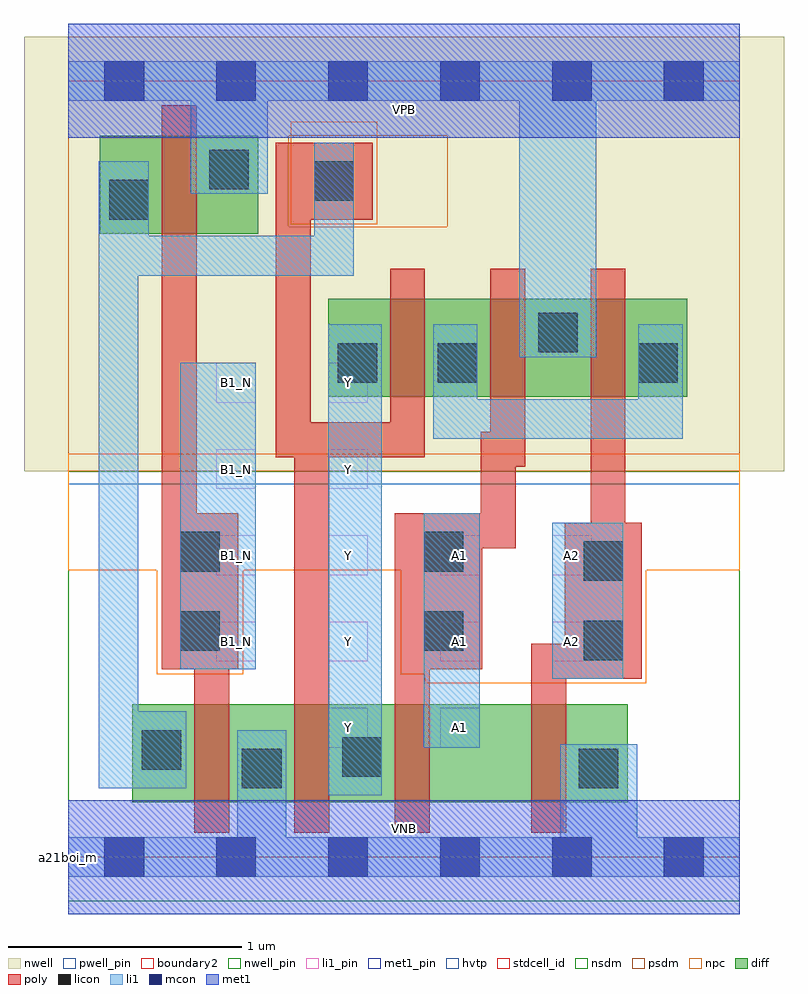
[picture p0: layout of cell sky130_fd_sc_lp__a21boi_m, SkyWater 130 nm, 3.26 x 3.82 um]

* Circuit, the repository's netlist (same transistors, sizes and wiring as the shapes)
* Copyright 2020 The SkyWater PDK Authors
*
* Licensed under the Apache License, Version 2.0 (the "License");
* you may not use this file except in compliance with the License.
* You may obtain a copy of the License at
*
*     https://www.apache.org/licenses/LICENSE-2.0
*
* Unless required by applicable law or agreed to in writing, software
* distributed under the License is distributed on an "AS IS" BASIS,
* WITHOUT WARRANTIES OR CONDITIONS OF ANY KIND, either express or implied.
* See the License for the specific language governing permissions and
* limitations under the License.
*
* SPDX-License-Identifier: Apache-2.0

.SUBCKT sky130_fd_sc_lp__a21boi_m A1 A2 B1_N VGND VNB VPB VPWR Y
*.PININFO A1:I A2:I B1_N:I VGND:I VNB:I VPB:I VPWR:I Y:O
MMPA0 net28 A1 VPWR VPB sky130_fd_pr__pfet_01v8_hvt m=1 w=0.42U l=0.15U mult=1
+ sa=0.265 sb=0.265 sd=0.28 area=0.063 perim=1.14
MMPA1 net28 A2 VPWR VPB sky130_fd_pr__pfet_01v8_hvt m=1 w=0.42U l=0.15U mult=1
+ sa=0.265 sb=0.265 sd=0.28 area=0.063 perim=1.14
MMPB0 Y B1 net28 VPB sky130_fd_pr__pfet_01v8_hvt m=1 w=0.42U l=0.15U mult=1 sa=0.265
+ sb=0.265 sd=0.28 area=0.063 perim=1.14
MMIPB1N B1 B1_N VPWR VPB sky130_fd_pr__pfet_01v8_hvt m=1 w=0.42U l=0.15U mult=1
+ sa=0.265 sb=0.265 sd=0.28 area=0.063 perim=1.14
MMNA0 Y A1 sndA1 VNB sky130_fd_pr__nfet_01v8 m=1 w=0.42U l=0.15U mult=1 sa=0.265
+ sb=0.265 sd=0.28 area=0.063 perim=1.14
MMNA1 sndA1 A2 VGND VNB sky130_fd_pr__nfet_01v8 m=1 w=0.42U l=0.15U mult=1 sa=0.265
+ sb=0.265 sd=0.28 area=0.063 perim=1.14
MMNB0 Y B1 VGND VNB sky130_fd_pr__nfet_01v8 m=1 w=0.42U l=0.15U mult=1 sa=0.265
+ sb=0.265 sd=0.28 area=0.063 perim=1.14
MMINB1N B1 B1_N VGND VNB sky130_fd_pr__nfet_01v8 m=1 w=0.42U l=0.15U mult=1 sa=0.265
+ sb=0.265 sd=0.28 area=0.063 perim=1.14
.ENDS sky130_fd_sc_lp__a21boi_m

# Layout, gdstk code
import gdstk
lib = gdstk.Library(unit=1e-6, precision=1e-09)
def R(c, l, rs):  # rectangles x0, y0, x1, y1
    for r in rs: c.add(gdstk.rectangle(r[:2], r[2:], *l))
def A(c, l, x, y, w, h, nx, ny, dx, dy):  # array of equal rectangles
    R(c, l, [(x+i*dx, y+j*dy, x+i*dx+w, y+j*dy+h) for i in range(nx) for j in range(ny)])
def P(c, l, *ps):  # polygons
    for p in ps: c.add(gdstk.Polygon(p, *l))
nwell_pin = (64, 16)
nwell = (64, 20)
diff = (65, 20)
poly = (66, 20)
licon = (66, 44)
li1_pin = (67, 16)
li1 = (67, 20)
mcon = (67, 44)
met1_pin = (68, 16)
met1 = (68, 20)
hvtp = (78, 44)
stdcell_id = (81, 4)
nsdm = (93, 44)
psdm = (94, 20)
npc = (95, 20)
pwell_pin = (122, 16)
boundary2 = (236, 0)

sky130_fd_sc_lp__a21boi_ = lib.new_cell('sky130_fd_sc_lp__a21boi_m')
R(sky130_fd_sc_lp__a21boi_, nwell_pin, [(0,3.085,2.88,3.33)])
R(sky130_fd_sc_lp__a21boi_, nwell, [(-0.19,1.655,3.07,3.52)])
R(sky130_fd_sc_lp__a21boi_, diff, [(0.275,0.235,2.4,0.655), (1.115,1.975,2.655,2.395), (0.135,2.675,0.815,3.095)])
P(sky130_fd_sc_lp__a21boi_, poly, [(0.73,1.475),(0.55,1.475),(0.55,3.225),(0.4,3.225),(0.4,0.805),(0.54,0.805),(0.54,0.105),(0.69,0.105),(0.69,0.805),(0.73,0.805)],
  [(1.53,2.525),(1.38,2.525),(1.38,1.865),(1.04,1.865),(1.04,2.735),(1.305,2.735),(1.305,3.065),(0.89,3.065),(0.89,1.715),(0.97,1.715),(0.97,0.105),(1.12,0.105),(1.12,1.715),(1.53,1.715)],
  [(1.96,2.525),(1.81,2.525),(1.81,1.825),(1.77,1.825),(1.77,1.475),(1.4,1.475),(1.4,0.105),(1.55,0.105),(1.55,0.805),(1.775,0.805),(1.775,1.325),(1.92,1.325),(1.92,1.675),(1.96,1.675)],
  [(2.46,1.435),(2.39,1.435),(2.39,2.525),(2.24,2.525),(2.24,1.435),(2.13,1.435),(2.13,0.915),(1.985,0.915),(1.985,0.105),(2.135,0.105),(2.135,0.765),(2.46,0.765)])
R(sky130_fd_sc_lp__a21boi_, licon, [(0.745,0.295,0.915,0.465), (2.19,0.295,2.36,0.465), (1.175,0.345,1.345,0.515), (0.315,0.375,0.485,0.545), (2.21,0.845,2.38,1.015), (0.48,0.885,0.65,1.055), (1.525,0.885,1.695,1.055), (2.21,1.185,2.38,1.355), (0.48,1.225,0.65,1.395), (1.525,1.225,1.695,1.395), (1.155,2.035,1.325,2.205), (1.585,2.035,1.755,2.205), (2.445,2.035,2.615,2.205), (2.015,2.165,2.185,2.335), (0.175,2.735,0.345,2.905), (1.055,2.815,1.225,2.985), (0.605,2.865,0.775,3.035)])
A(sky130_fd_sc_lp__a21boi_, li1_pin, 0.635, 0.84, 0.17, 0.17, 4, 2, 0.48, 0.37)
R(sky130_fd_sc_lp__a21boi_, li1_pin, [(1.115,0.47,1.285,0.64), (1.595,0.47,1.765,0.64), (0.635,1.58,0.805,1.75), (1.115,1.58,1.285,1.75), (0.635,1.95,0.805,2.12), (1.115,1.95,1.285,2.12)])
R(sky130_fd_sc_lp__a21boi_, li1, [(1.115,0.265,1.345,2.285), (1.525,0.47,1.765,1.475), (2.075,0.765,2.38,1.435), (0.48,0.805,0.805,2.12)])
P(sky130_fd_sc_lp__a21boi_, li1, [(1.935,2.145),(1.935,3.245),(0.855,3.245),(0.855,2.845),(0.525,2.845),(0.525,3.245),(0,3.245),(0,3.415),(2.88,3.415),(2.88,3.245),(2.265,3.245),(2.265,2.145)],
  [(2.11,0.085),(2.11,0.485),(2.44,0.485),(2.44,0.085),(2.88,0.085),(2.88,-0.085),(0,-0.085),(0,0.085),(0.725,0.085),(0.725,0.545),(0.935,0.545),(0.935,0.085)],
  [(0.345,2.665),(1.055,2.665),(1.055,3.065),(1.225,3.065),(1.225,2.495),(0.3,2.495),(0.3,0.625),(0.505,0.625),(0.505,0.295),(0.13,0.295),(0.13,2.985),(0.345,2.985)],
  [(2.445,1.965),(2.445,2.285),(2.635,2.285),(2.635,1.795),(1.565,1.795),(1.565,2.285),(1.755,2.285),(1.755,1.965)])
A(sky130_fd_sc_lp__a21boi_, mcon, 0.155, -0.085, 0.17, 0.17, 6, 2, 0.48, 3.33)
R(sky130_fd_sc_lp__a21boi_, met1_pin, [(0,0,2.88,0.245), (0,3.085,2.88,3.33)])
R(sky130_fd_sc_lp__a21boi_, met1, [(0,-0.245,2.88,0.245), (0,3.085,2.88,3.575)])
R(sky130_fd_sc_lp__a21boi_, hvtp, [(0,1.6,2.88,3.33)])
R(sky130_fd_sc_lp__a21boi_, stdcell_id, [(0,0,2.88,3.33)])
R(sky130_fd_sc_lp__a21boi_, nsdm, [(0,-0.19,2.88,1.655)])
P(sky130_fd_sc_lp__a21boi_, psdm, [(2.88,3.52),(1.625,3.52),(1.625,2.705),(0.945,2.705),(0.945,3.095),(1.625,3.095),(1.625,3.52),(0,3.52),(0,1.655),(2.88,1.655)])
R(sky130_fd_sc_lp__a21boi_, npc, [(0.955,2.715,1.325,3.155)])
P(sky130_fd_sc_lp__a21boi_, npc, [(2.88,1.73),(0,1.73),(0,1.23),(0.38,1.23),(0.38,0.785),(0.75,0.785),(0.75,1.23),(1.425,1.23),(1.425,0.785),(1.53,0.785),(1.53,0.745),(2.48,0.745),(2.48,1.23),(2.88,1.23)])
R(sky130_fd_sc_lp__a21boi_, pwell_pin, [(0,0,2.88,0.245)])
R(sky130_fd_sc_lp__a21boi_, boundary2, [(0,0,2.88,3.33)])
sky130_fd_sc_lp__a21boi_.add(gdstk.Label('VNB', (1.44,0.123), layer=64, texttype=59))
sky130_fd_sc_lp__a21boi_.add(gdstk.Label('VPB', (1.44,3.208), layer=64, texttype=5))
sky130_fd_sc_lp__a21boi_.add(gdstk.Label('a21boi_m', (0,0), layer=83, texttype=44))
sky130_fd_sc_lp__a21boi_.add(gdstk.Label('VPWR', (1.44,3.208), layer=68, texttype=5))
sky130_fd_sc_lp__a21boi_.add(gdstk.Label('VGND', (1.44,0.123), layer=68, texttype=5))
sky130_fd_sc_lp__a21boi_.add(gdstk.Label('A2', (2.16,0.925), layer=67, texttype=5))
sky130_fd_sc_lp__a21boi_.add(gdstk.Label('A2', (2.16,1.295), layer=67, texttype=5))
sky130_fd_sc_lp__a21boi_.add(gdstk.Label('B1_N', (0.72,0.925), layer=67, texttype=5))
sky130_fd_sc_lp__a21boi_.add(gdstk.Label('B1_N', (0.72,1.295), layer=67, texttype=5))
sky130_fd_sc_lp__a21boi_.add(gdstk.Label('B1_N', (0.72,1.665), layer=67, texttype=5))
sky130_fd_sc_lp__a21boi_.add(gdstk.Label('B1_N', (0.72,2.035), layer=67, texttype=5))
sky130_fd_sc_lp__a21boi_.add(gdstk.Label('A1', (1.68,0.555), layer=67, texttype=5))
sky130_fd_sc_lp__a21boi_.add(gdstk.Label('A1', (1.68,0.925), layer=67, texttype=5))
sky130_fd_sc_lp__a21boi_.add(gdstk.Label('A1', (1.68,1.295), layer=67, texttype=5))
sky130_fd_sc_lp__a21boi_.add(gdstk.Label('Y', (1.2,0.555), layer=67, texttype=5))
sky130_fd_sc_lp__a21boi_.add(gdstk.Label('Y', (1.2,0.925), layer=67, texttype=5))
sky130_fd_sc_lp__a21boi_.add(gdstk.Label('Y', (1.2,1.295), layer=67, texttype=5))
sky130_fd_sc_lp__a21boi_.add(gdstk.Label('Y', (1.2,1.665), layer=67, texttype=5))
sky130_fd_sc_lp__a21boi_.add(gdstk.Label('Y', (1.2,2.035), layer=67, texttype=5))

lib.write_gds('sky130_fd_sc_lp__a21boi_m.gds')
